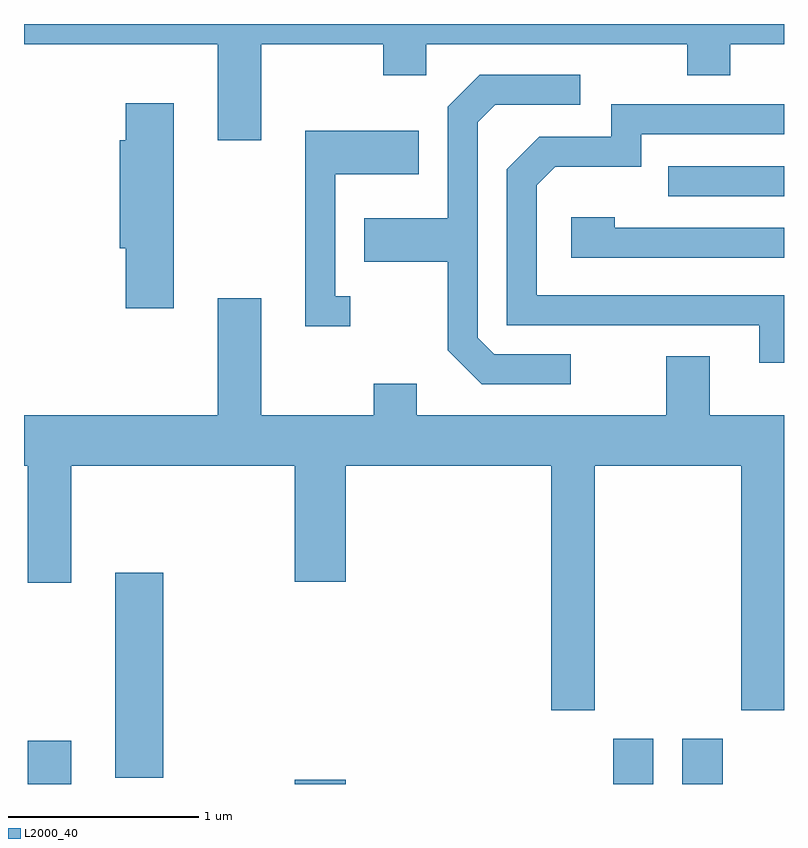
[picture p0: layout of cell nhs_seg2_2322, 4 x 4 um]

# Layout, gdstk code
import gdstk
lib = gdstk.Library(unit=1e-6, precision=1e-09)
def R(c, l, rs):  # rectangles x0, y0, x1, y1
    for r in rs: c.add(gdstk.rectangle(r[:2], r[2:], *l))
def P(c, l, *ps):  # polygons
    for p in ps: c.add(gdstk.Polygon(p, *l))
L2000_40 = (2000, 40)

nhs_seg2_2322 = lib.new_cell('nhs_seg2_2322')
R(nhs_seg2_2322, L2000_40, [(253.631,997.802,253.859,998.029), (255.036,997.802,255.304,997.824), (256.711,997.802,256.924,998.039), (257.076,997.802,257.289,998.039), (254.091,997.836,254.344,998.914), (257.003,1000.896,257.611,1001.054)])
P(nhs_seg2_2322, L2000_40, [(254.859,1001.696),(255.501,1001.696),(255.501,1001.531),(255.729,1001.531),(255.729,1001.696),(257.101,1001.696),(257.101,1001.531),(257.329,1001.531),(257.329,1001.696),(257.611,1001.696),(257.611,1001.802),(253.611,1001.802),(253.611,1001.696),(254.631,1001.696),(254.631,1001.191),(254.859,1001.191)],
  [(256.488,1000.064),(256.087,1000.064),(255.999,1000.152),(255.999,1001.284),(256.092,1001.376),(256.538,1001.376),(256.538,1001.534),(256.009,1001.534),(255.841,1001.367),(255.841,1000.779),(255.401,1000.779),(255.401,1000.551),(255.841,1000.551),(255.841,1000.084),(256.019,999.906),(256.488,999.906)],
  [(254.399,1001.384),(254.146,1001.384),(254.146,1001.189),(254.116,1001.189),(254.116,1000.621),(254.146,1000.621),(254.146,1000.306),(254.399,1000.306)],
  [(257.611,1000.374),(256.309,1000.374),(256.309,1000.954),(256.407,1001.051),(256.859,1001.051),(256.859,1001.221),(257.611,1001.221),(257.611,1001.379),(256.701,1001.379),(256.701,1001.209),(256.324,1001.209),(256.151,1001.037),(256.151,1000.216),(257.481,1000.216),(257.481,1000.018),(257.611,1000.018)],
  [(255.328,1000.369),(255.249,1000.369),(255.249,1001.011),(255.689,1001.011),(255.689,1001.239),(255.091,1001.239),(255.091,1000.211),(255.328,1000.211)],
  [(257.611,1000.729),(256.719,1000.729),(256.719,1000.784),(256.491,1000.784),(256.491,1000.571),(257.611,1000.571)],
  [(257.219,1000.054),(256.991,1000.054),(256.991,999.744),(255.679,999.744),(255.679,999.909),(255.451,999.909),(255.451,999.744),(254.859,999.744),(254.859,1000.359),(254.631,1000.359),(254.631,999.744),(253.611,999.744),(253.611,999.476),(253.631,999.476),(253.631,998.861),(253.859,998.861),(253.859,999.476),(255.036,999.476),(255.036,998.866),(255.304,998.866),(255.304,999.476),(256.386,999.476),(256.386,998.191),(256.614,998.191),(256.614,999.476),(257.386,999.476),(257.386,998.191),(257.611,998.191),(257.611,999.744),(257.219,999.744)])

lib.write_gds('nhs_seg2_2322.gds')
